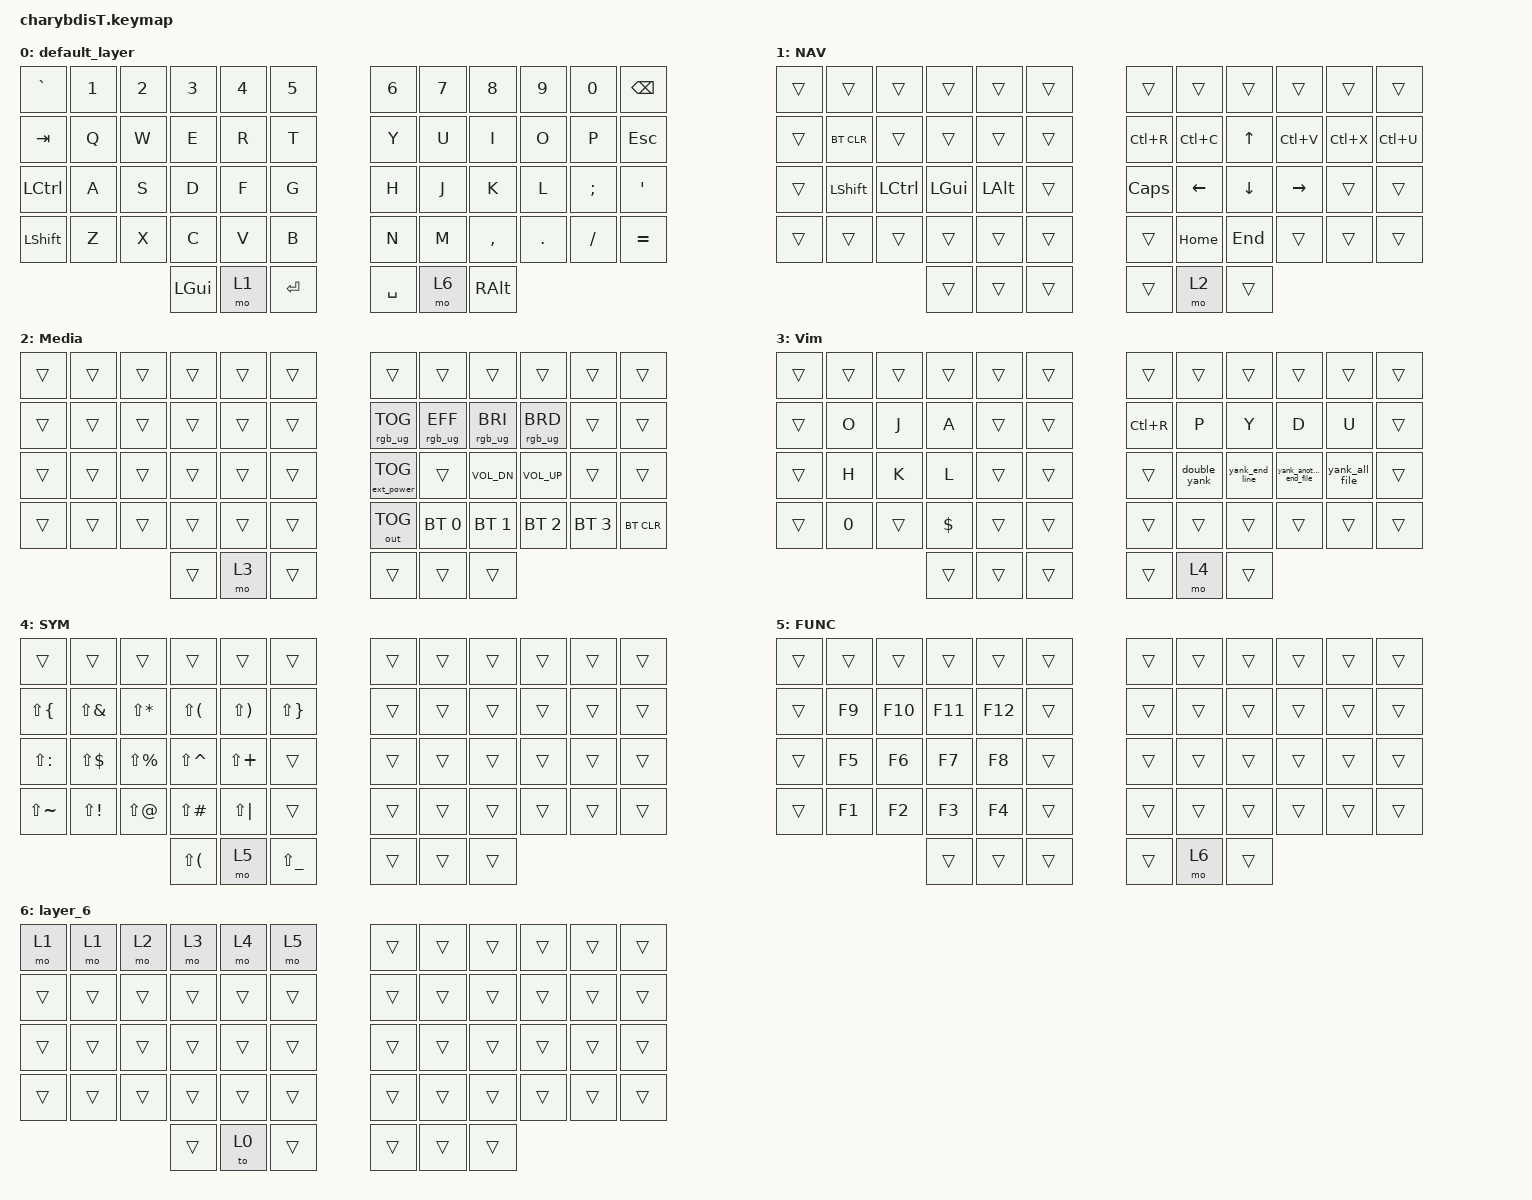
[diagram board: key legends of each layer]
/*
 * Copyright (c) 2020 The ZMK Contributors
 *
 * SPDX-License-Identifier: MIT
 */

 #include <behaviors.dtsi>
 #include <dt-bindings/zmk/keys.h>
 #include <dt-bindings/zmk/bt.h>
 #include <dt-bindings/zmk/rgb.h>
 #include <dt-bindings/zmk/ext_power.h>
 #include <dt-bindings/zmk/outputs.h>
 #include <dt-bindings/led/led.h>

&pinctrl {
    spi3_default: spi3_default {
        group1 {
            psels = <NRF_PSEL(SPIM_MOSI, 0, 6)>;
        };
    };

    spi3_sleep: spi3_sleep {
        group1 {
            psels = <NRF_PSEL(SPIM_MOSI, 0, 6)>;
            low-power-enable;
        };
    };
};
&spi3 {
    compatible = "nordic,nrf-spim";
    status = "okay";

    pinctrl-0 = <&spi3_default>;
    pinctrl-1 = <&spi3_sleep>;
    pinctrl-names = "default", "sleep";

    led_strip: ws2812@0 {
        compatible = "worldsemi,ws2812-spi";

        /* SPI */
        reg = <0>; /* ignored, but necessary for SPI bindings */
        spi-max-frequency = <4000000>;

        /* WS2812 */
        chain-length = <16>; /* number of LEDs */
        spi-one-frame = <0x70>;
        spi-zero-frame = <0x40>;
        color-mapping = <LED_COLOR_ID_GREEN
                         LED_COLOR_ID_RED
                         LED_COLOR_ID_BLUE>;
    };
};
/ {
        macros {
            double_yank: double_yank {
                compatible = "zmk,behavior-macro";
                #binding-cells = <0>;
                bindings = <&kp Y &kp Y>;
                label = "DOUBLE_YANK";
            };

            yank_end_line: yank_end_line {
                compatible = "zmk,behavior-macro";
                #binding-cells = <0>;
                bindings = <&kp Y &kp DOLLAR>;
                label = "YANK_END_LINE";
            };

            yank_all_file: yank_all_file {
                compatible = "zmk,behavior-macro";
                #binding-cells = <0>;
                bindings = <&kp Y &kp LS(G)>;
                label = "YANK_ALL_FILE";
            };

            yank_another_end_file: yank_another_end_file {
                compatible = "zmk,behavior-macro";
                #binding-cells = <0>;
                bindings = <&kp Y &kp G &kp G>;
                label = "YANK_ANOTHER_END_FILE";
            };
    };
       keymap {
              compatible = "zmk,keymap";

              default_layer {
 // ---------------------------------------------------------------------------------------------------------------------------------
 // | GRAVE  |   1    |   2    |   3    |   4    |   5    |                                      |   6    |   7    |   8    |   9    |   0    |  DEL   |
 // |  TAB   |   Q    |   W    |   E    |   R    |   T    |                                      |   Y    |   U    |   I    |   O    |   P    |  BSPC  |
 // |  CTRL  |   A    |   S    |   D    |   F    |   G    |                                      |   H    |   J    |   K    |   L    |   ;    |   '    |
 // |  SHIFT |   Z    |   X    |   C    |   V    |   B    |  LBKT  |                    |  RBKT  |   N    |   M    |   ,    |   .    |   /    |  RET   |
 // | ADJUST |  ESC   |  ALT   |  LGUI  | EISUU  | LOWER  | SPACE  |                    |  SPACE | RAISE  |  KANA  |  LEFT  |  DOWN  |  UP    |  RIGHT |
                        bindings = <
   &kp GRAVE &kp N1 &kp N2 &kp N3 &kp N4 &kp N5   &kp N6 &kp N7  &kp N8     &kp N9   &kp N0    &kp BSPC
   &kp TAB   &kp Q &kp W &kp E &kp R &kp T   &kp Y &kp U  &kp I     &kp O   &kp P    &kp ESCAPE
   &kp LCTRL &kp A &kp S &kp D &kp F &kp G   &kp H &kp J  &kp K     &kp L   &kp SEMI &kp SQT
   &kp LSHFT &kp Z &kp X &kp C &kp V &kp B   &kp N &kp M  &kp COMMA &kp DOT &kp FSLH &kp EQUAL
                  &kp LGUI &mo 1 &kp ENTER   &kp SPACE &mo 6 &kp RALT
                        >;
              };
              NAV {
                bindings = <
    &trans  &trans  &trans  &trans  &trans  &trans  &trans  &trans  &trans  &trans  &trans  &trans  
    &trans  &bt BT_CLR  &trans  &trans  &trans  &trans  &kp LC(R)  &kp LC(C)  &kp UP  &kp LC(V)  &kp LC(X)  &kp LC(U)  
    &trans  &kp LSHFT  &kp LCTRL  &kp LGUI  &kp LALT  &trans  &kp CAPS  &kp LEFT  &kp DOWN  &kp RIGHT  &trans  &trans  
    &trans  &trans  &trans  &trans  &trans  &trans  &trans  &kp HOME  &kp END  &trans  &trans  &trans  
                    &trans  &trans  &trans  &trans  &mo 2  &trans
                >;
            };
                Media {
                    bindings = <
    &trans  &trans  &trans  &trans  &trans  &trans  &trans  &trans  &trans  &trans  &trans  &trans  
    &trans  &trans  &trans  &trans  &trans  &trans  &rgb_ug RGB_TOG  &rgb_ug RGB_EFF  &rgb_ug RGB_BRI  &rgb_ug RGB_BRD  &trans  &trans  
    &trans  &trans  &trans  &trans  &trans  &trans  &ext_power EP_TOG  &trans  &kp C_VOL_DN  &kp C_VOLUME_UP  &trans  &trans  
    &trans  &trans  &trans  &trans  &trans  &trans  &out OUT_TOG  &bt BT_SEL 0  &bt BT_SEL 1  &bt BT_SEL 2  &bt BT_SEL 3  &bt BT_CLR
                    &trans  &mo 3  &trans  &trans  &trans  &trans
                >;
            };
                Vim {
                    bindings = <
    &trans  &trans  &trans  &trans  &trans  &trans  &trans  &trans  &trans  &trans  &trans  &trans  
    &trans  &kp O  &kp J  &kp A  &trans  &trans  &kp LC(R)  &kp P  &kp Y  &kp D  &kp U  &trans  
    &trans  &kp H  &kp K  &kp L  &trans  &trans  &trans  &double_yank  &yank_end_line  &yank_another_end_file  &yank_all_file  &trans
    &trans  &kp N0  &trans  &kp DOLLAR  &trans  &trans  &trans  &trans  &trans  &trans  &trans  &trans  
                    &trans  &trans  &trans  &trans  &mo 4  &trans
                >;
            };
                SYM {
                    bindings = <
    &trans  &trans  &trans  &trans  &trans  &trans  &trans  &trans  &trans  &trans  &trans  &trans  
    &kp LS(LBRC)  &kp LS(AMPS)  &kp LS(STAR)  &kp LS(LPAR)  &kp LS(RPAR)  &kp LS(RBRC)  &trans  &trans  &trans  &trans  
    &trans  &trans  &kp LS(COLON)  &kp LS(DLLR)  &kp LS(PRCNT)  &kp LS(CARET)  &kp LS(PLUS)  &trans  &trans  &trans  &trans  &trans
    &trans  &trans  &kp LS(TILDE)  &kp LS(EXCL)  &kp LS(AT)  &kp LS(POUND)  &kp LS(PIPE)  &trans  &trans  &trans  &trans  &trans  
                    &trans  &trans  &kp LS(LPAR)  &mo 5  &kp LS(UNDER)  &trans  &trans  &trans
                >;
            };
                FUNC {
                    bindings = <
    &trans  &trans  &trans  &trans  &trans  &trans  &trans  &trans  &trans  &trans  &trans  &trans
    &trans  &kp F9  &kp F10  &kp F11  &kp F12  &trans  &trans  &trans  &trans  &trans  &trans  &trans  
    &trans  &kp F5  &kp F6  &kp F7  &kp F8  &trans  &trans  &trans  &trans  &trans  &trans  &trans  
    &trans  &kp F1  &kp F2  &kp F3  &kp F4  &trans  &trans  &trans  &trans  &trans  &trans  &trans  
                    &trans  &trans  &trans  &trans  &mo 6  &trans
                >;
            };
            layer_6 {
                bindings = <
    &mo 1  &mo 1  &mo 2  &mo 3  &mo 4  &mo 5  &trans  &trans  &trans  &trans  &trans  &trans  
    &trans  &trans  &trans  &trans  &trans  &trans  &trans  &trans  &trans  &trans  &trans  &trans  
    &trans  &trans  &trans  &trans  &trans  &trans  &trans  &trans  &trans  &trans  &trans  &trans  
    &trans  &trans  &trans  &trans  &trans  &trans  &trans  &trans  &trans  &trans  &trans  &trans  
                    &trans  &to 0  &trans  &trans  &trans  &trans
                >;
            };
       };
};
